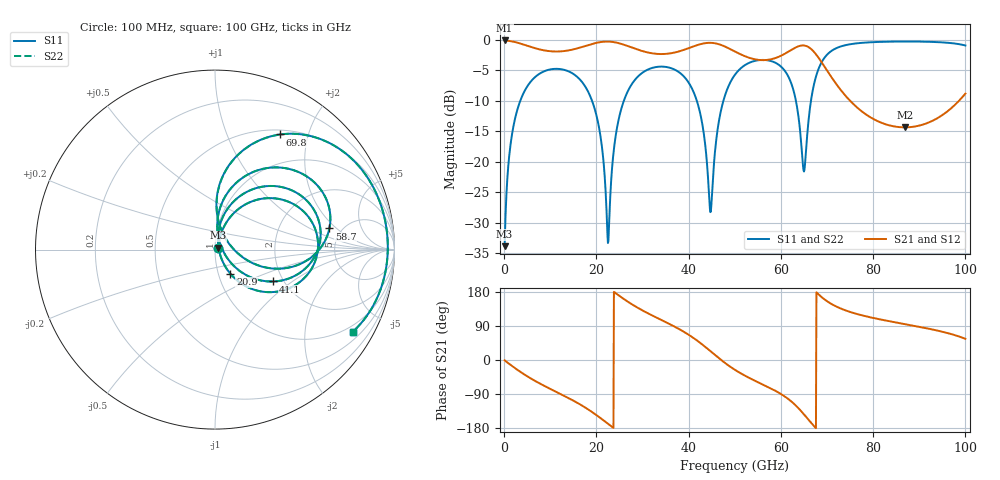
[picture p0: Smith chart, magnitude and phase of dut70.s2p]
! Touchstone file exported from HFSS 2026.1.0
!  File:  C:/ffzhzh/LocalFiles/Ansys_Project_Files/temp_train_TSV_RDL_70_1783627054_33328.aedt
!  Generated:  04:04:52 AM Jul 10, 2026
!  Design:  TSV_RDL
!  Project:  temp_train_TSV_RDL_70_1783627054_33328
! Variables:
!  h_bsmrdl = 3.43um
!  h_ox = 20um
!  h_rdl = 5um
!  h_sub = 64.36um
!  h_tmrdl = 2.58um
!  h_tsv = 64.36um
!  h_via = 3um
!  l_bsmrdl = 180.13um
!  l_sub = 2458.44um
!  l_tmrdl = 349.76um
!  m_sub = 200um
!  pitch = 55.27um
!  r_tsv = 11.84um
!  s_tmrdl = 10um
!  w_bsmrdl = 26.14um
!  w_sub = 500um
!  w_tmrdl = 13.53um
!  x_tsv_center1 = 356.525um
!  x_tsv_center2 = 562.795um
!  x_tsv_center3 = 926.085um
!  x_tsv_center4 = 1132.355um
!  x_tsv_center5 = 1495.645um
!  x_tsv_center6 = 1701.915um
# GHz S MA R 50.000000
! Terminal data exported
! Port[1] = TM_RDL1_1_T1
! Port[2] = TM_RDL5_1_T1
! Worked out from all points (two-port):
!   1000 points, 100 MHz to 100 GHz, reference 50 ohm
!   highest |S21| = -0.15 dB at 100 MHz (marker M1); lowest = -14.4 dB at 86.9 GHz (marker M2)
!   |S21| within 3 dB of the highest: start of sweep to 53.85 GHz; 58.31 GHz to 68.32 GHz (10 GHz wide, 15.8 % of centre)
!   lowest |S11| = -33.9 dB at 100 MHz (marker M3), VSWR 1.04, Z = 51.8 + j1.06 ohm
!   |S11| at or under -10 dB: start of sweep to 3.516 GHz; 19.04 GHz to 25.97 GHz (6.934 GHz wide, 30.8 % of centre); 41.76 GHz to 47.55 GHz (5.792 GHz wide, 13 % of centre) (the widest 3 of 4)
!   |S22| runs from -33.9 to -0.3 dB; largest |S21 - S12| = 2.7e-13
!   S11 on the Smith chart (normalised r, x): 100 MHz: 1.04, +0.02; 20.9 GHz: 1.14, -0.32; 41.1 GHz: 1.77, -0.73; 58.7 GHz: 3.99, +1.62; 69.8 GHz: 0.56, +1.57; 100 GHz: 0.76, -3.47
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0.1  0.02025 30.5  0.9827 -1.0  0.9827 -1.0  0.02025 30.5
! Gamma 0 0 0 0
! Port Impedance 50 0 50 0
1.6  0.1575 67.6  0.9669 -14.8  0.9669 -14.8  0.1575 67.6
4.5  0.3827 47.6  0.9022 -39.2  0.9022 -39.2  0.3827 47.6
10.8  0.5744 7.5  0.7982 -81.1  0.7982 -81.1  0.5744 7.5
16.8  0.4529 -29.4  0.8668 -119.6  0.8668 -119.6  0.4529 -29.4
20.9  0.1601 -57.4  0.9531 -153.3  0.9531 -153.3  0.1601 -57.5
22.6  0.02225 27.0  0.9619 -169.0  0.9619 -169.0  0.02219 27.2
24  0.1456 78.6  0.9492 178.0  0.9492 178.0  0.1457 78.6
25.8  0.3029 67.4  0.9112 162.2  0.9112 162.2  0.303 67.4
33.4  0.5983 18.7  0.7616 109.7  0.7616 109.7  0.5984 18.7
41.1  0.3692 -28.7  0.8799 57.7  0.8799 57.7  0.3693 -28.8
44.8  0.03884 31.7  0.9395 22.6  0.9395 22.6  0.03819 31.7
46.9  0.2505 82.2  0.906 1.5  0.906 1.5  0.2502 82.3
50.1  0.5184 59.8  0.7953 -26.4  0.7953 -26.4  0.5182 59.9
58.7  0.6482 10.5  0.7028 -80.6  0.7028 -80.6  0.6482 10.5
62.6  0.3985 -15.3  0.8364 -112.9  0.8364 -112.9  0.3986 -15.1
64.9  0.08506 22.0  0.8943 -142.0  0.8943 -142.0  0.08609 22.1
66.7  0.3475 86.6  0.8267 -168.0  0.8267 -168.0  0.3477 86.4
69.8  0.7365 60.6  0.5725 156.9  0.5725 156.9  0.7366 60.5
83.4  0.9604 11.4  0.1984 102.6  0.1984 102.6  0.9604 11.4
86.9  0.9632 4.1  0.1906 94.6  0.1906 94.6  0.9632 4.1
100  0.8934 -30.8  0.3605 55.9  0.3605 55.9  0.8935 -30.9
